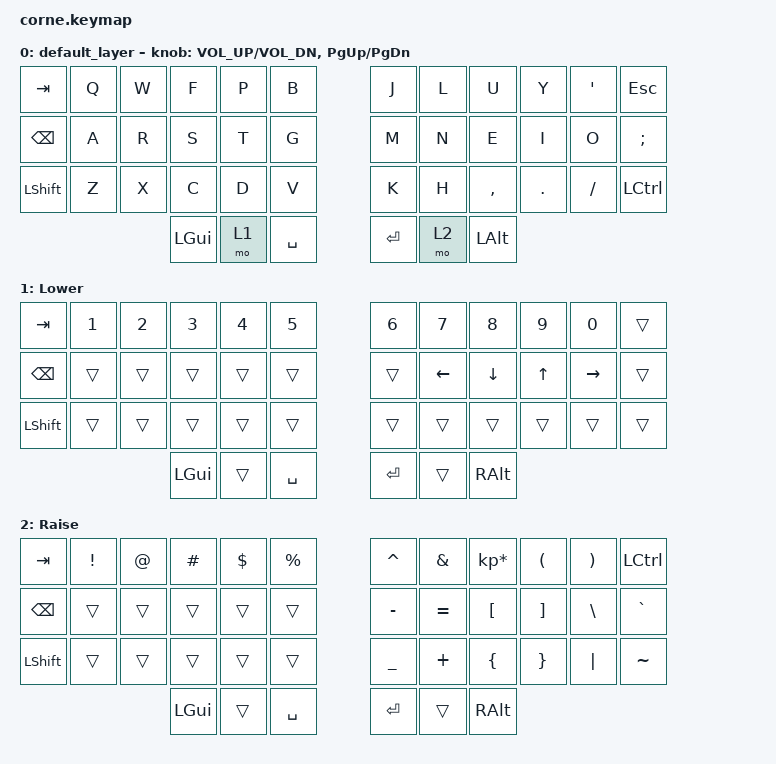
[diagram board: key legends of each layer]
#include <behaviors.dtsi>
#include <dt-bindings/zmk/keys.h>

/ {
    keymap {
        compatible = "zmk,keymap";

        default_layer {
            // -------------------------------------------------------------------------------------------------
            // | ESC  |  Q  |  W  |  F  |  P  |  B  |                    |  J  |  L  |  U  |  Y  |  '  | BSPC|
            // | SHF  |  A  |  R  |  S  |  T  |  G  |                    |  M  |  N  |  E  |  I  |  O  |  ;  |
            // | CTRL |  Z  |  X  |  C  |  D  |  V  |  MUTE  |  |        |  K  |  H  |  ,  |  .  |  /  | TAB |
            //                    | GUI | LWR | SPC |                    | ENT | RSE | ALT |

            bindings = <
&kp TAB    &kp Q  &kp W  &kp F     &kp P  &kp B        &kp J    &kp L  &kp U      &kp Y    &kp APOS  &kp ESC
&kp BSPC   &kp A  &kp R  &kp S     &kp T  &kp G        &kp M    &kp N  &kp E      &kp I    &kp O     &kp SEMI
&kp LSHFT  &kp Z  &kp X  &kp C     &kp D  &kp V        &kp K    &kp H  &kp COMMA  &kp DOT  &kp FSLH  &kp LCTRL
                         &kp LGUI  &mo 1  &kp SPACE    &kp RET  &mo 2  &kp LALT
            >;

            sensor-bindings = <&inc_dec_kp C_VOL_UP C_VOL_DN &inc_dec_kp PG_UP PG_DN>;
        };

        lower_layer {
            // -----------------------------------------------------------------------------------------
            // |  TAB |  1  |  2  |  3  |  4  |  5  |   |  6  |  7  |  8  |  9  |  0  | BKSP |
            // | BTCLR| BT1 | BT2 | BT3 | BT4 | BT5 |   | LFT | DWN |  UP | RGT |     |      |
            // | SHFT |     |     |     |     |     |   |     |     |     |     |     |      |
            //                    | GUI |     | SPC |   | ENT |     | ALT |

            display-name = "Lower";
            bindings = <
&kp TAB    &kp N1  &kp N2  &kp N3    &kp N4  &kp N5       &kp N6     &kp N7    &kp N8          &kp N9        &kp N0     &trans
&kp BSPC   &trans  &trans  &trans    &trans  &trans       &trans     &kp LEFT  &kp DOWN_ARROW  &kp UP_ARROW  &kp RIGHT  &trans
&kp LSHFT  &trans  &trans  &trans    &trans  &trans       &trans     &trans    &trans          &trans        &trans     &trans
                           &kp LGUI  &trans  &kp SPACE    &kp ENTER  &trans    &kp RALT
            >;
        };

        raise_layer {
            // -----------------------------------------------------------------------------------------
            // |  TAB |  !  |  @  |  #  |  $  |  %  |   |  ^  |  &  |  *  |  (  |  )  | BKSP |
            // | CTRL |     |     |     |     |     |   |  -  |  =  |  [  |  ]  |  \  |  `   |
            // | SHFT |     |     |     |     |     |   |  _  |  +  |  {  |  }  | "|" |  ~   |
            //                    | GUI |     | SPC |   | ENT |     | ALT |

            display-name = "Raise";
            bindings = <
&kp TAB    &kp EXCL  &kp AT  &kp HASH  &kp DLLR  &kp PRCNT    &kp CARET  &kp AMPS   &kp KP_MULTIPLY  &kp LPAR  &kp RPAR  &kp LEFT_CONTROL
&kp BSPC   &trans    &trans  &trans    &trans    &trans       &kp MINUS  &kp EQUAL  &kp LBKT         &kp RBKT  &kp BSLH  &kp GRAVE
&kp LSHFT  &trans    &trans  &trans    &trans    &trans       &kp UNDER  &kp PLUS   &kp LBRC         &kp RBRC  &kp PIPE  &kp TILDE
                             &kp LGUI  &trans    &kp SPACE    &kp RET    &trans     &kp RALT
            >;
        };
    };
};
